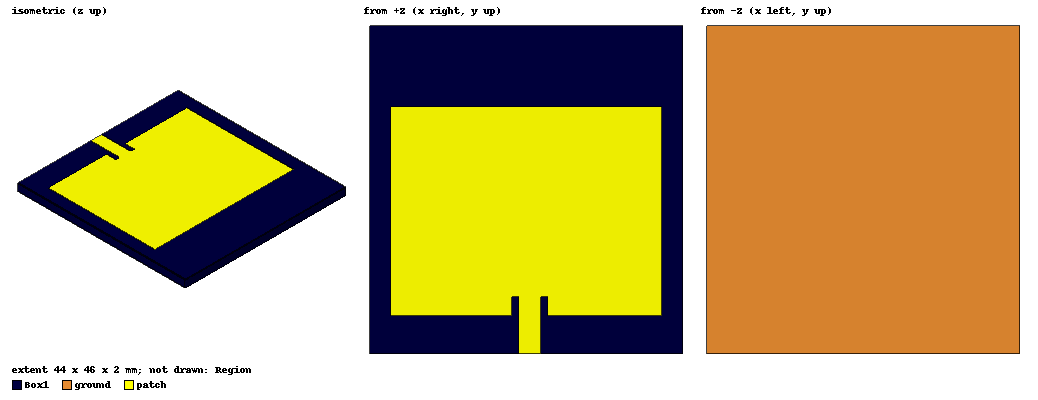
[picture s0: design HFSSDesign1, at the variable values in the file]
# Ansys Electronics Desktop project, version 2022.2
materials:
  vacuum: permittivity=1
  FR4_epoxy: permittivity=4.4 dielectric_loss_tangent=0.02
  air: permittivity=1.0006 permeability=1.0000004

design HFSSDesign1 (HFSS, DrivenModal, model units mm)
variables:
  w = 38.1mm  # optimise 35mm..40mm
  l = 29.289701mm
  h = 2mm
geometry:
  Rectangle1 = rectangle(corner=(-w/2, -l/2, 0mm), x_size=w, y_size=l)
  Rectangle2 = rectangle(corner=(-2mm, -12mm, 0mm), x_size=5mm, y_size=-5mm)
  Rectangle1.subtract(Rectangle2)
  patch = rectangle(corner=(-1mm, -20mm, 0mm), x_size=3mm, y_size=8mm)
  patch.unite(Rectangle1)
  Box1 [FR4_epoxy] = box(corner=(-22mm, -20mm, 0mm), size=(44mm, 46mm, -h))
  ground = rectangle(corner=(-22mm, -20mm, -h), x_size=44mm, y_size=46mm)
  Rectangle3 = rectangle(corner=(-1mm, -20mm, 0mm), z_size=-2mm, x_size=3mm)
  Region [air] = region(absolute_offset=10mm on all sides)
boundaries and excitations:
  Rad1: Radiation Objects=Region
  PerfE1: Perfect E Objects=[patch, ground]
  1: Lumped Port Objects=Rectangle3 Modes{Mode1{IntLine{(0.5, -20, -2) -> (0.5, -20, 0)} CharImp=Zpi RenormImp=50ohm}} Impedance=50ohm
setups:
  Setup1: HfssDriven Frequency=2.4GHz MaxDeltaS=0.02 MaximumPasses=30 MinimumPasses=1 MinimumConvergedPasses=1 PercentRefinement=30 BasisOrder=1 PortAccuracy=2 DrivenSolverType="Direct Solver"
    sweep Sweep: 2GHz to 3.5GHz step 0.006GHz; Type=Fast SaveFields
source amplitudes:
  1:1: 1W 0deg
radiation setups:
  Infinite Sphere1: Infinite Sphere Theta=0deg..180deg step 2deg Phi=-180deg..180deg step 2deg
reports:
  S Parameter Plot 1: dB(S(1,1)) vs Freq on Setup1 : Sweep; markers m1 at 2.35GHz
  Z Parameter Plot 1: im(Z(1,1)), re(Z(1,1)) vs Freq on Setup1 : Sweep
  Gain Plot 1: dB(GainTotal) vs Phi, Theta on Setup1 : LastAdaptive, Infinite Sphere1 [Freq=2.4GHz w=35mm l=28mm]
